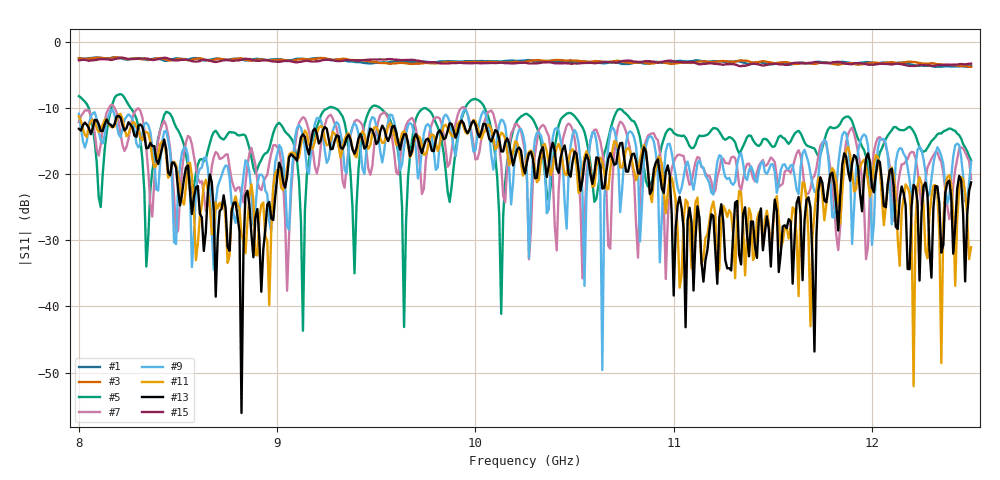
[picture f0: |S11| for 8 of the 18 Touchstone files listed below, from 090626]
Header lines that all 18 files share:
#  HZ  S  RI  R  50.00
! Rohde & Schwarz Vector Network Analyzer
! Rohde-Schwarz,ZNA43-4Port,1332450044101932,2.92
! freq[Hz]  re:S11  im:S11
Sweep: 8 GHz to 12.5 GHz
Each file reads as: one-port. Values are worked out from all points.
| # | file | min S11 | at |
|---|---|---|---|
| 1 | calkit_3l8.s1p | -3.8 dB | 12.32 GHz |
| 2 | calkit_l0.s1p | -3.7 dB | 12.31 GHz |
| 3 | calkit_l4.s1p | -3.8 dB | 12.5 GHz |
| 4 | calkit_l8.s1p | -3.6 dB | 11.97 GHz |
| 5 | target25.s1p | -43.7 dB | 9.13 GHz |
| 6 | target50.s1p | -43.0 dB | 10.98 GHz |
| 7 | target75.s1p | -37.6 dB | 9.05 GHz |
| 8 | target100.s1p | -46.5 dB | 10.94 GHz |
| 9 | target125.s1p | -49.6 dB | 10.64 GHz |
| 10 | target150.s1p | -46.2 dB | 11.2 GHz |
| 11 | target175.s1p | -52.0 dB | 12.21 GHz |
| 12 | target200.s1p | -57.9 dB | 11.02 GHz |
| 13 | target225.s1p | -56.1 dB | 8.82 GHz |
| 14 | target250.s1p | -52.5 dB | 11.43 GHz |
| 15 | Ver_0.s1p | -3.7 dB | 11.34 GHz |
| 16 | Ver_375.s1p | -3.6 dB | 11.97 GHz |
| 17 | Ver_750.s1p | -3.8 dB | 12.5 GHz |
| 18 | Ver_1125.s1p | -3.8 dB | 12.32 GHz |
